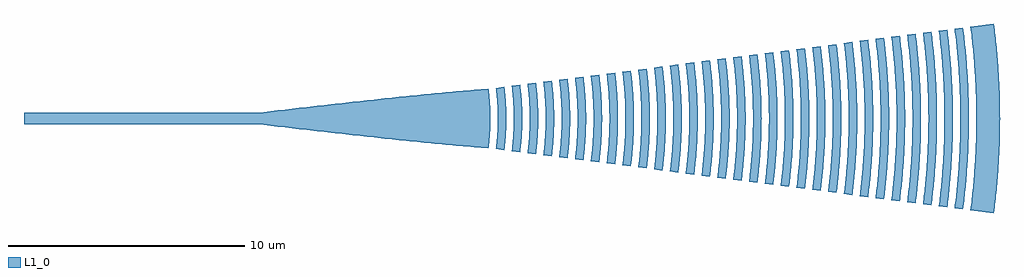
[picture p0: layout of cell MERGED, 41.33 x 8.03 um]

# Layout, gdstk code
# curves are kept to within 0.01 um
import gdstk
lib = gdstk.Library(unit=1e-6, precision=1e-09)
def R(c, l, rs):  # rectangles x0, y0, x1, y1
    for r in rs: c.add(gdstk.rectangle(r[:2], r[2:], *l))
def P(c, l, *ps):  # polygons
    for p in ps: c.add(gdstk.Polygon(p, *l))
L1_0 = (1, 0)

merged = lib.new_cell('MERGED')
R(merged, L1_0, [(-19.75,-0.25,-9.75,0.25)])
P(merged, L1_0, [(-9.75,0.25),(-6.124,0.668),(-3.858,0.911),(-1.591,1.132),(-0.08,1.25),(-0.08,-1.25),(-1.591,-1.132),(-3.858,-0.911),(-6.124,-0.668),(-9.75,-0.25)],
  [(-0.16,-1.24),(-0.1,-0.621),(-0.08,0),(-0.1,0.621),(-0.16,1.24),(-0.08,1.25),(-0.011,0.47),(0,0.078),(-0.006,-0.352),(-0.031,-0.783),(-0.08,-1.25)],
  [(20.332,-3.889),(20.442,-2.92),(20.528,-1.827),(20.571,-0.853),(20.583,0),(20.571,0.853),(20.528,1.827),(20.442,2.92),(20.332,3.889),(21.324,4.017),(21.425,3.142),(21.51,2.138),(21.562,1.133),(21.583,0),(21.574,-0.755),(21.526,-1.887),(21.449,-2.891),(21.34,-3.892),(21.324,-4.017)],
  [(0.236,-1.291),(0.296,-0.687),(0.319,-0.081),(0.301,0.606),(0.236,1.291),(0.589,1.337),(0.657,0.628),(0.675,0.126),(0.657,-0.628),(0.595,-1.295),(0.589,-1.337)],
  [(0.906,-1.378),(0.97,-0.733),(0.995,0),(0.97,0.733),(0.906,1.378),(1.259,1.423),(1.319,0.847),(1.351,0.089),(1.331,-0.669),(1.265,-1.379),(1.259,-1.423)],
  [(1.576,-1.464),(1.637,-0.871),(1.67,-0.092),(1.652,0.642),(1.576,1.464),(1.929,1.51),(1.996,0.851),(2.026,0.095),(2.008,-0.662),(1.947,-1.369),(1.929,-1.51)],
  [(2.246,-1.551),(2.314,-0.874),(2.345,-0.146),(2.324,0.728),(2.246,1.551),(2.599,1.596),(2.666,0.95),(2.701,0.15),(2.69,-0.55),(2.629,-1.348),(2.599,-1.596)],
  [(2.916,-1.637),(2.988,-0.923),(3.021,-0.103),(2.995,0.82),(2.916,1.637),(3.269,1.683),(3.347,0.896),(3.376,0.211),(3.367,-0.527),(3.306,-1.369),(3.269,-1.683)],
  [(3.585,-1.724),(3.669,-0.864),(3.696,-0.108),(3.669,0.864),(3.585,1.724),(3.939,1.77),(4.021,0.942),(4.052,0.166),(4.042,-0.554),(3.989,-1.329),(3.939,-1.77)],
  [(4.255,-1.81),(4.343,-0.907),(4.372,-0.057),(4.343,0.907),(4.255,1.81),(4.609,1.856),(4.702,0.872),(4.728,0.116),(4.714,-0.64),(4.661,-1.394),(4.609,-1.856)],
  [(4.925,-1.897),(5.009,-1.069),(5.047,-0.119),(5.017,0.951),(4.925,1.897),(5.279,1.943),(5.355,1.216),(5.401,0.304),(5.394,-0.548),(5.339,-1.398),(5.279,-1.943)],
  [(5.595,-1.984),(5.687,-1.056),(5.723,-0.062),(5.695,0.932),(5.595,1.984),(5.948,2.029),(6.038,1.144),(6.076,0.318),(6.069,-0.572),(6.012,-1.461),(5.948,-2.029)],
  [(6.265,-2.07),(6.361,-1.102),(6.398,-0.13),(6.373,0.908),(6.323,1.555),(6.265,2.07),(6.618,2.116),(6.696,1.391),(6.75,0.398),(6.744,-0.597),(6.696,-1.391),(6.618,-2.116)],
  [(6.935,-2.157),(7.039,-1.081),(7.074,0),(7.039,1.081),(6.935,2.157),(7.288,2.203),(7.375,1.379),(7.425,0.414),(7.425,-0.414),(7.375,-1.379),(7.288,-2.203)],
  [(7.605,-2.243),(7.713,-1.124),(7.749,-0.07),(7.738,0.633),(7.713,1.124),(7.605,2.243),(7.958,2.289),(8.059,1.29),(8.102,0.359),(8.094,-0.645),(8.048,-1.433),(7.958,-2.289)],
  [(8.275,-2.33),(8.354,-1.604),(8.392,-1.095),(8.425,0),(8.392,1.095),(8.354,1.604),(8.275,2.33),(8.628,2.376),(8.727,1.413),(8.774,0.521),(8.774,-0.521),(8.727,-1.413),(8.628,-2.376)],
  [(8.944,-2.417),(9.051,-1.362),(9.088,-0.681),(9.1,-0.076),(9.093,0.53),(9.066,1.135),(9.02,1.739),(8.944,2.417),(9.298,2.462),(9.394,1.542),(9.449,0.54),(9.451,-0.463),(9.412,-1.311),(9.298,-2.462)],
  [(9.614,-2.503),(9.73,-1.332),(9.775,-0.157),(9.77,0.471),(9.745,1.098),(9.685,1.88),(9.614,2.503),(9.968,2.549),(10.068,1.596),(10.124,0.559),(10.128,-0.399),(10.08,-1.436),(9.968,-2.549)],
  [(10.284,-2.59),(10.404,-1.379),(10.438,-0.73),(10.451,-0.081),(10.438,0.73),(10.404,1.379),(10.284,2.59),(10.638,2.636),(10.741,1.65),(10.797,0.661),(10.805,-0.33),(10.765,-1.32),(10.72,-1.897),(10.638,-2.636)],
  [(10.954,-2.676),(11.078,-1.425),(11.126,-0.168),(11.116,0.671),(11.078,1.425),(10.954,2.676),(11.307,2.722),(11.421,1.619),(11.472,0.682),(11.48,-0.341),(11.439,-1.364),(11.376,-2.129),(11.307,-2.722)],
  [(11.624,-2.763),(11.752,-1.471),(11.788,-0.779),(11.802,-0.087),(11.796,0.519),(11.763,1.298),(11.702,2.075),(11.624,2.763),(11.977,2.809),(12.073,1.934),(12.147,0.704),(12.157,-0.264),(12.113,-1.407),(12.048,-2.197),(11.977,-2.809)],
  [(12.294,-2.85),(12.374,-2.14),(12.437,-1.339),(12.477,-0.089),(12.471,0.536),(12.437,1.339),(12.374,2.14),(12.294,2.85),(12.647,2.895),(12.761,1.813),(12.819,0.816),(12.831,-0.363),(12.793,-1.36),(12.729,-2.174),(12.647,-2.895)],
  [(12.964,-2.936),(13.055,-2.113),(13.111,-1.379),(13.144,-0.644),(13.153,0),(13.144,0.644),(13.111,1.379),(13.055,2.113),(12.964,2.936),(13.317,2.982),(13.434,1.867),(13.494,0.841),(13.506,-0.374),(13.467,-1.401),(13.41,-2.146),(13.317,-2.982)],
  [(13.634,-3.023),(13.719,-2.27),(13.773,-1.609),(13.813,-0.852),(13.828,-0.095),(13.819,0.663),(13.791,1.325),(13.728,2.176),(13.634,3.023),(13.987,3.069),(14.115,1.825),(14.169,0.865),(14.184,-0.192),(14.147,-1.345),(14.091,-2.113),(13.987,-3.069)],
  [(14.303,-3.109),(14.391,-2.335),(14.46,-1.461),(14.497,-0.585),(14.504,0),(14.497,0.585),(14.46,1.461),(14.391,2.335),(14.303,3.109),(14.657,3.155),(14.781,1.975),(14.844,0.89),(14.858,-0.297),(14.821,-1.383),(14.746,-2.369),(14.657,-3.155)],
  [(14.973,-3.196),(15.073,-2.3),(15.128,-1.601),(15.163,-0.901),(15.179,-0.1),(15.172,0.601),(15.128,1.601),(15.073,2.3),(14.973,3.196),(15.327,3.242),(15.454,2.029),(15.519,0.914),(15.535,-0.203),(15.501,-1.32),(15.437,-2.232),(15.327,-3.242)],
  [(15.643,-3.283),(15.736,-2.465),(15.788,-1.85),(15.834,-1.028),(15.854,-0.206),(15.847,0.617),(15.802,1.645),(15.736,2.465),(15.643,3.283),(15.997,3.328),(16.127,2.084),(16.194,0.938),(16.209,-0.313),(16.17,-1.459),(16.1,-2.395),(15.997,-3.328)],
  [(16.313,-3.369),(16.408,-2.53),(16.476,-1.688),(16.513,-0.95),(16.53,-0.106),(16.52,0.739),(16.476,1.688),(16.408,2.53),(16.313,3.369),(16.666,3.415),(16.792,2.245),(16.865,1.07),(16.886,-0.107),(16.85,-1.391),(16.773,-2.458),(16.666,-3.415)],
  [(16.983,-3.456),(17.07,-2.703),(17.143,-1.84),(17.188,-0.974),(17.205,-0.108),(17.195,0.758),(17.15,1.731),(17.07,2.703),(16.983,3.456),(17.336,3.502),(17.474,2.192),(17.548,0.878),(17.56,-0.329),(17.519,-1.535),(17.435,-2.629),(17.336,-3.502)],
  [(17.653,-3.542),(17.742,-2.77),(17.824,-1.775),(17.867,-0.888),(17.881,-0.111),(17.867,0.888),(17.831,1.664),(17.763,2.55),(17.653,3.542),(18.006,3.588),(18.138,2.358),(18.215,1.124),(18.237,-0.112),(18.205,-1.349),(18.138,-2.358),(18.006,-3.588)],
  [(18.323,-3.629),(18.436,-2.612),(18.498,-1.818),(18.542,-0.91),(18.556,-0.114),(18.542,0.91),(18.498,1.818),(18.436,2.612),(18.323,3.629),(18.676,3.675),(18.811,2.415),(18.894,1.036),(18.912,-0.23),(18.874,-1.496),(18.801,-2.53),(18.676,-3.675)],
  [(18.993,-3.716),(19.086,-2.906),(19.172,-1.862),(19.217,-0.931),(19.232,0),(19.217,0.931),(19.172,1.862),(19.086,2.906),(18.993,3.716),(19.346,3.761),(19.484,2.472),(19.569,1.061),(19.588,-0.118),(19.554,-1.414),(19.474,-2.59),(19.346,-3.761)],
  [(19.662,-3.802),(19.758,-2.974),(19.846,-1.905),(19.888,-1.072),(19.907,-0.119),(19.892,0.953),(19.846,1.905),(19.758,2.974),(19.662,3.802),(20.016,3.848),(20.167,2.409),(20.244,1.085),(20.263,-0.241),(20.229,-1.446),(20.157,-2.529),(20.016,-3.848)])

lib.write_gds('MERGED.gds')
